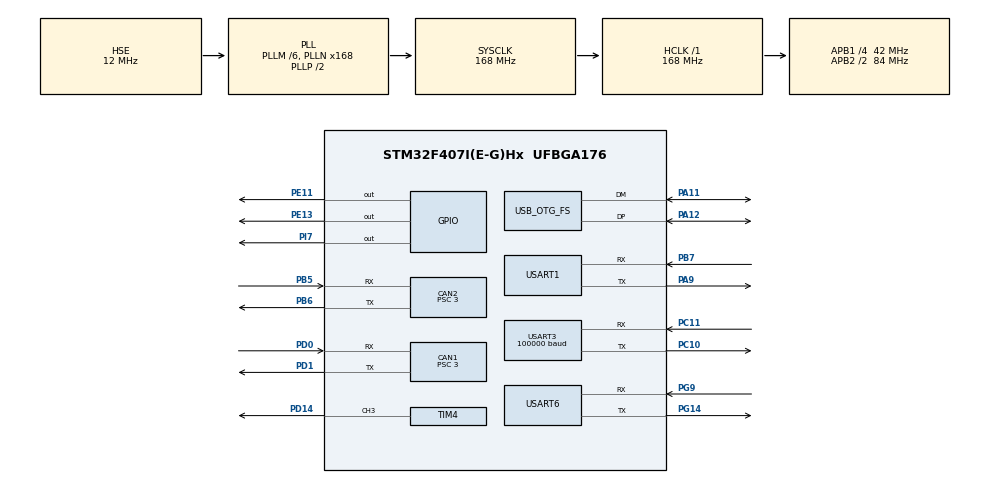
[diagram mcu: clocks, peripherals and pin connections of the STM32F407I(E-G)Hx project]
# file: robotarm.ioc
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CAN1.ABOM=ENABLE
CAN1.BS1=CAN_BS1_5TQ
CAN1.BS2=CAN_BS2_8TQ
CAN1.CalculateBaudRate=1000000
CAN1.CalculateTimeBit=1000
CAN1.CalculateTimeQuantum=71.42857142857143
CAN1.Prescaler=3
CAN2.ABOM=ENABLE
CAN2.BS1=CAN_BS1_5TQ
CAN2.BS2=CAN_BS2_8TQ
CAN2.CalculateBaudRate=1000000
CAN2.CalculateTimeBit=1000
CAN2.CalculateTimeQuantum=71.42857142857143
CAN2.Prescaler=3
Dma.Request0=USART1_RX
Dma.Request1=USART6_RX
Dma.Request2=USART3_RX
Dma.Request3=USART6_TX
Dma.Request4=USART1_TX
Dma.USART1_RX.0.Direction=DMA_PERIPH_TO_MEMORY
Dma.USART1_RX.0.FIFOMode=DMA_FIFOMODE_ENABLE
Dma.USART1_RX.0.FIFOThreshold=DMA_FIFO_THRESHOLD_FULL
Dma.USART1_RX.0.Instance=DMA2_Stream2
Dma.USART1_RX.0.MemBurst=DMA_MBURST_SINGLE
Dma.USART1_RX.0.MemDataAlignment=DMA_MDATAALIGN_BYTE
Dma.USART1_RX.0.MemInc=DMA_MINC_ENABLE
Dma.USART1_RX.0.Mode=DMA_NORMAL
Dma.USART1_RX.0.PeriphBurst=DMA_PBURST_SINGLE
Dma.USART1_RX.0.PeriphDataAlignment=DMA_PDATAALIGN_BYTE
Dma.USART1_RX.0.PeriphInc=DMA_PINC_DISABLE
Dma.USART1_RX.0.Priority=DMA_PRIORITY_MEDIUM
Dma.USART1_TX.4.Direction=DMA_MEMORY_TO_PERIPH
Dma.USART1_TX.4.FIFOMode=DMA_FIFOMODE_ENABLE
Dma.USART1_TX.4.FIFOThreshold=DMA_FIFO_THRESHOLD_FULL
Dma.USART1_TX.4.Instance=DMA2_Stream7
Dma.USART1_TX.4.MemBurst=DMA_MBURST_SINGLE
Dma.USART1_TX.4.MemDataAlignment=DMA_MDATAALIGN_BYTE
Dma.USART1_TX.4.MemInc=DMA_MINC_ENABLE
Dma.USART1_TX.4.Mode=DMA_NORMAL
Dma.USART1_TX.4.PeriphBurst=DMA_PBURST_SINGLE
Dma.USART1_TX.4.PeriphDataAlignment=DMA_PDATAALIGN_BYTE
Dma.USART1_TX.4.PeriphInc=DMA_PINC_DISABLE
Dma.USART1_TX.4.Priority=DMA_PRIORITY_MEDIUM
Dma.USART3_RX.2.Direction=DMA_PERIPH_TO_MEMORY
Dma.USART3_RX.2.FIFOMode=DMA_FIFOMODE_ENABLE
Dma.USART3_RX.2.FIFOThreshold=DMA_FIFO_THRESHOLD_FULL
Dma.USART3_RX.2.Instance=DMA1_Stream1
Dma.USART3_RX.2.MemBurst=DMA_MBURST_SINGLE
Dma.USART3_RX.2.MemDataAlignment=DMA_MDATAALIGN_BYTE
Dma.USART3_RX.2.MemInc=DMA_MINC_ENABLE
Dma.USART3_RX.2.Mode=DMA_NORMAL
Dma.USART3_RX.2.PeriphBurst=DMA_PBURST_SINGLE
Dma.USART3_RX.2.PeriphDataAlignment=DMA_PDATAALIGN_BYTE
Dma.USART3_RX.2.PeriphInc=DMA_PINC_DISABLE
Dma.USART3_RX.2.Priority=DMA_PRIORITY_MEDIUM
Dma.USART6_RX.1.Direction=DMA_PERIPH_TO_MEMORY
Dma.USART6_RX.1.FIFOMode=DMA_FIFOMODE_ENABLE
Dma.USART6_RX.1.FIFOThreshold=DMA_FIFO_THRESHOLD_FULL
Dma.USART6_RX.1.Instance=DMA2_Stream1
Dma.USART6_RX.1.MemBurst=DMA_MBURST_SINGLE
Dma.USART6_RX.1.MemDataAlignment=DMA_MDATAALIGN_BYTE
Dma.USART6_RX.1.MemInc=DMA_MINC_ENABLE
Dma.USART6_RX.1.Mode=DMA_NORMAL
Dma.USART6_RX.1.PeriphBurst=DMA_PBURST_SINGLE
Dma.USART6_RX.1.PeriphDataAlignment=DMA_PDATAALIGN_BYTE
Dma.USART6_RX.1.PeriphInc=DMA_PINC_DISABLE
Dma.USART6_RX.1.Priority=DMA_PRIORITY_MEDIUM
Dma.USART6_TX.3.Direction=DMA_MEMORY_TO_PERIPH
Dma.USART6_TX.3.FIFOMode=DMA_FIFOMODE_ENABLE
Dma.USART6_TX.3.FIFOThreshold=DMA_FIFO_THRESHOLD_FULL
Dma.USART6_TX.3.Instance=DMA2_Stream6
Dma.USART6_TX.3.MemBurst=DMA_MBURST_SINGLE
Dma.USART6_TX.3.MemDataAlignment=DMA_MDATAALIGN_BYTE
Dma.USART6_TX.3.MemInc=DMA_MINC_ENABLE
Dma.USART6_TX.3.Mode=DMA_NORMAL
Dma.USART6_TX.3.PeriphBurst=DMA_PBURST_SINGLE
Dma.USART6_TX.3.PeriphDataAlignment=DMA_PDATAALIGN_BYTE
Dma.USART6_TX.3.PeriphInc=DMA_PINC_DISABLE
Dma.USART6_TX.3.Priority=DMA_PRIORITY_MEDIUM
FREERTOS.CountingSemaphores01=Communication_Sem,10,Dynamic,NULL
FREERTOS.INCLUDE_uxTaskGetStackHighWaterMark=1
FREERTOS.Mutexes01=can1TransMutex,Dynamic,NULL
FREERTOS.Tasks01=defaultTask,0,128,StartDefaultTask,As weak,NULL,Dynamic,NULL,NULL
FREERTOS.configENABLE_FPU=1
FREERTOS.configMAX_PRIORITIES=15
FREERTOS.configMAX_TASK_NAME_LEN=25
FREERTOS.configTOTAL_HEAP_SIZE=0x6300
FREERTOS.configUSE_COUNTING_SEMAPHORES=1
Mcu.Family=STM32F4
Mcu.Name=STM32F407I(E-G)Hx
Mcu.Package=UFBGA176
NVIC.CAN1_RX0_IRQn=true\:5\:0\:false\:false\:true\:true\:true\:true\:true
NVIC.CAN1_RX1_IRQn=true\:5\:0\:false\:false\:true\:true\:true\:true\:true
NVIC.CAN2_RX0_IRQn=true\:5\:0\:false\:false\:true\:true\:true\:true\:true
NVIC.CAN2_RX1_IRQn=true\:5\:0\:false\:false\:true\:true\:true\:true\:true
NVIC.DMA1_Stream1_IRQn=true\:5\:0\:false\:false\:true\:true\:false\:true\:true
NVIC.DMA2_Stream1_IRQn=true\:5\:0\:false\:false\:true\:true\:false\:true\:true
NVIC.DMA2_Stream2_IRQn=true\:5\:0\:false\:false\:true\:true\:false\:true\:true
NVIC.DMA2_Stream6_IRQn=true\:5\:0\:false\:false\:true\:true\:false\:true\:true
NVIC.DMA2_Stream7_IRQn=true\:5\:0\:false\:false\:true\:true\:false\:true\:true
NVIC.OTG_FS_IRQn=true\:5\:0\:false\:false\:true\:true\:false\:true\:true
NVIC.PriorityGroup=NVIC_PRIORITYGROUP_4
NVIC.TIM3_IRQn=true\:5\:0\:false\:false\:true\:true\:true\:true\:true
NVIC.TIM5_IRQn=true\:15\:0\:false\:false\:true\:false\:false\:true\:true
NVIC.TimeBase=TIM5_IRQn
NVIC.TimeBaseIP=TIM5
NVIC.USART1_IRQn=true\:5\:0\:false\:false\:true\:true\:true\:true\:true
NVIC.USART3_IRQn=true\:5\:0\:true\:false\:true\:true\:true\:true\:true
NVIC.USART6_IRQn=true\:5\:0\:false\:false\:true\:true\:true\:true\:true
PA11.Mode=Device_Only
PA11.Signal=USB_OTG_FS_DM
PA12.Mode=Device_Only
PA12.Signal=USB_OTG_FS_DP
PA13.Mode=Serial_Wire
PA13.Signal=SYS_JTMS-SWDIO
PA14.Mode=Serial_Wire
PA14.Signal=SYS_JTCK-SWCLK
PA9.Mode=Asynchronous
PA9.Signal=USART1_TX
PB5.Mode=CAN_Activate
PB5.Signal=CAN2_RX
PB6.Mode=CAN_Activate
PB6.Signal=CAN2_TX
PB7.Mode=Asynchronous
PB7.Signal=USART1_RX
PC10.Mode=Asynchronous
PC10.Signal=USART3_TX
PC11.Mode=Asynchronous
PC11.Signal=USART3_RX
PD0.Mode=CAN_Activate
PD0.Signal=CAN1_RX
PD1.Mode=CAN_Activate
PD1.Signal=CAN1_TX
PD14.Signal=S_TIM4_CH3
PE11.GPIO_PuPd=GPIO_PULLUP
PE11.Signal=GPIO_Output
PE13.GPIO_PuPd=GPIO_PULLUP
PE13.Signal=GPIO_Output
PG14.Mode=Asynchronous
PG14.Signal=USART6_TX
PG9.Mode=Asynchronous
PG9.Signal=USART6_RX
PH0-OSC_IN.Mode=HSE-External-Oscillator
PH0-OSC_IN.Signal=RCC_OSC_IN
PH1-OSC_OUT.Mode=HSE-External-Oscillator
PH1-OSC_OUT.Signal=RCC_OSC_OUT
PI7.Signal=GPIO_Output
ProjectManager.HeapSize=0x5000
ProjectManager.StackSize=0x4000
ProjectManager.TargetToolchain=MDK-ARM V5.32
RCC.48MHZClocksFreq_Value=48000000
RCC.AHBFreq_Value=168000000
RCC.APB1CLKDivider=RCC_HCLK_DIV4
RCC.APB1Freq_Value=42000000
RCC.APB1TimFreq_Value=84000000
RCC.APB2CLKDivider=RCC_HCLK_DIV2
RCC.APB2Freq_Value=84000000
RCC.APB2TimFreq_Value=168000000
RCC.CortexFreq_Value=168000000
RCC.HCLKFreq_Value=168000000
RCC.HSE_VALUE=12000000
RCC.HSI_VALUE=16000000
RCC.LSE_VALUE=32768
RCC.PLLM=6
RCC.PLLN=168
RCC.PLLQ=7
RCC.SYSCLKFreq_VALUE=168000000
RCC.SYSCLKSource=RCC_SYSCLKSOURCE_PLLCLK
RCC.VCOOutputFreq_Value=336000000
SH.S_TIM4_CH3.0=TIM4_CH3,PWM Generation3 CH3
STMicroelectronics.X-CUBE-ALGOBUILD.1.3.0.LibraryCcDSPOoLibraryJjDSPOoLibrary=true
TIM3.AutoReloadPreload=TIM_AUTORELOAD_PRELOAD_ENABLE
TIM3.Period=1000-1
TIM3.Prescaler=84-1
TIM4.Channel-PWM\ Generation3\ CH3=TIM_CHANNEL_3
USART1.VirtualMode=VM_ASYNC
USART3.BaudRate=100000
USART3.Mode=MODE_RX
USART3.Parity=PARITY_EVEN
USART3.VirtualMode=VM_ASYNC
USART3.WordLength=WORDLENGTH_9B
USART6.VirtualMode=VM_ASYNC
USB_DEVICE.CLASS_NAME_FS=CDC
USB_DEVICE.VirtualMode-CDC_FS=Cdc
USB_DEVICE.VirtualModeFS=Cdc_FS
USB_OTG_FS.VirtualMode=Device_Only
VP_FREERTOS_VS_CMSIS_V1.Mode=CMSIS_V1
VP_STMicroelectronics.X-CUBE-ALGOBUILD_VS_DSPOoLibraryJjLibrary_1.3.0_1.3.0.Mode=DSPOoLibraryJjLibrary
VP_SYS_VS_tim5.Mode=TIM5
VP_TIM3_VS_ClockSourceINT.Mode=Internal
VP_USB_DEVICE_VS_USB_DEVICE_CDC_FS.Mode=CDC_FS
board=custom

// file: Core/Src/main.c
/* USER CODE BEGIN Header */
/**
  ******************************************************************************
  * @file           : main.c
  * @brief          : Main program body
  ******************************************************************************
  * @attention
  *
  * Copyright (c) 2023 STMicroelectronics.
  * All rights reserved.
  *
  * This software is licensed under terms that can be found in the LICENSE file
  * in the root directory of this software component.
  * If no LICENSE file comes with this software, it is provided AS-IS.
  *
  ******************************************************************************
  */
/* USER CODE END Header */
#include "main.h"
#include "cmsis_os.h"
#include "can.h"
#include "dma.h"
#include "tim.h"
#include "usart.h"
#include "usb_device.h"
#include "gpio.h"

/* USER CODE BEGIN Includes */
#include "tsk_config_and_callback.h"
#include "drv_can.h"
/* USER CODE END Includes */

void SystemClock_Config(void);
void MX_FREERTOS_Init(void);

/* USER CODE BEGIN 0 */
uint8_t data_[8]={0,0,0,50,0,0,0,0};
/* USER CODE END 0 */

int main(void)
{

  /* MCU Configuration--------------------------------------------------------*/

  /* Reset of all peripherals, Initializes the Flash interface and the Systick. */
  HAL_Init();

  /* Configure the system clock */
  SystemClock_Config();

  /* Initialize all configured peripherals */
  MX_GPIO_Init();
  MX_DMA_Init();
  MX_CAN1_Init();
  MX_CAN2_Init();
  MX_TIM3_Init();
  MX_USART1_UART_Init();
  MX_USART6_UART_Init();
  MX_USART3_UART_Init();
  MX_TIM4_Init();
  /* USER CODE BEGIN 2 */
	init();
  /* USER CODE END 2 */

  /* Call init function for freertos objects (in freertos.c) */
  MX_FREERTOS_Init();

  /* Start scheduler */
  osKernelStart();

  /* We should never get here as control is now taken by the scheduler */
  /* Infinite loop */
  /* USER CODE BEGIN WHILE */
  while (1)
  {

//	CAN_Send_Data(&hcan2, (uint32_t)(3<<8|1), data_, 8, CAN_ID_EXT);
//	HAL_Delay(10);
    /* USER CODE END WHILE */

  }
}

void SystemClock_Config(void)
{
  RCC_OscInitTypeDef RCC_OscInitStruct = {0};
  RCC_ClkInitTypeDef RCC_ClkInitStruct = {0};

  /** Configure the main internal regulator output voltage
  */
  __HAL_RCC_PWR_CLK_ENABLE();
  __HAL_PWR_VOLTAGESCALING_CONFIG(PWR_REGULATOR_VOLTAGE_SCALE1);

  /** Initializes the RCC Oscillators according to the specified parameters
  * in the RCC_OscInitTypeDef structure.
  */
  RCC_OscInitStruct.OscillatorType = RCC_OSCILLATORTYPE_HSE;
  RCC_OscInitStruct.HSEState = RCC_HSE_ON;
  RCC_OscInitStruct.PLL.PLLState = RCC_PLL_ON;
  RCC_OscInitStruct.PLL.PLLSource = RCC_PLLSOURCE_HSE;
  RCC_OscInitStruct.PLL.PLLM = 6;
  RCC_OscInitStruct.PLL.PLLN = 168;
  RCC_OscInitStruct.PLL.PLLP = RCC_PLLP_DIV2;
  RCC_OscInitStruct.PLL.PLLQ = 7;
  if (HAL_RCC_OscConfig(&RCC_OscInitStruct) != HAL_OK)
  {
    Error_Handler();
  }

  /** Initializes the CPU, AHB and APB buses clocks
  */
  RCC_ClkInitStruct.ClockType = RCC_CLOCKTYPE_HCLK|RCC_CLOCKTYPE_SYSCLK
                              |RCC_CLOCKTYPE_PCLK1|RCC_CLOCKTYPE_PCLK2;
  RCC_ClkInitStruct.SYSCLKSource = RCC_SYSCLKSOURCE_PLLCLK;
  RCC_ClkInitStruct.AHBCLKDivider = RCC_SYSCLK_DIV1;
  RCC_ClkInitStruct.APB1CLKDivider = RCC_HCLK_DIV4;
  RCC_ClkInitStruct.APB2CLKDivider = RCC_HCLK_DIV2;

  if (HAL_RCC_ClockConfig(&RCC_ClkInitStruct, FLASH_LATENCY_5) != HAL_OK)
  {
    Error_Handler();
  }
}

void HAL_TIM_PeriodElapsedCallback(TIM_HandleTypeDef *htim)
{
  if (htim->Instance == TIM5) {
    HAL_IncTick();
  }
}

void Error_Handler(void)
{
  __disable_irq();
  while (1)
  {
  }
}

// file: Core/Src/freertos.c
/* USER CODE BEGIN Header */
/**
  ******************************************************************************
  * File Name          : freertos.c
  * Description        : Code for freertos applications
  ******************************************************************************
  * @attention
  *
  * Copyright (c) 2023 STMicroelectronics.
  * All rights reserved.
  *
  * This software is licensed under terms that can be found in the LICENSE file
  * in the root directory of this software component.
  * If no LICENSE file comes with this software, it is provided AS-IS.
  *
  ******************************************************************************
  */
/* USER CODE END Header */

#include "FreeRTOS.h"
#include "task.h"
#include "main.h"
#include "cmsis_os.h"

/* USER CODE BEGIN Variables */
osThreadId RobotarmTaskHandle;
osThreadId MotorTaskHandle;
osThreadId CammandTaskHandle;
osThreadId CommunicationTaskHandle;
/* USER CODE END Variables */
osThreadId defaultTaskHandle;
osMutexId can1TransMutexHandle;
osSemaphoreId Communication_SemHandle;

/* USER CODE BEGIN FunctionPrototypes */
extern void RobotarmResolution_Task(void const * argument);
extern void Motor_Task(void const * argument);
extern void Cammand_Task(void const * argument);
extern void Communication_Task(void const * argument);
/* USER CODE END FunctionPrototypes */

void StartDefaultTask(void const * argument);

extern void MX_USB_DEVICE_Init(void);
void MX_FREERTOS_Init(void); /* (MISRA C 2004 rule 8.1) */

/* GetIdleTaskMemory prototype (linked to static allocation support) */
void vApplicationGetIdleTaskMemory( StaticTask_t **ppxIdleTaskTCBBuffer, StackType_t **ppxIdleTaskStackBuffer, uint32_t *pulIdleTaskStackSize );

/* USER CODE BEGIN GET_IDLE_TASK_MEMORY */
static StaticTask_t xIdleTaskTCBBuffer;
static StackType_t xIdleStack[configMINIMAL_STACK_SIZE];

void vApplicationGetIdleTaskMemory( StaticTask_t **ppxIdleTaskTCBBuffer, StackType_t **ppxIdleTaskStackBuffer, uint32_t *pulIdleTaskStackSize )
{
  *ppxIdleTaskTCBBuffer = &xIdleTaskTCBBuffer;
  *ppxIdleTaskStackBuffer = &xIdleStack[0];
  *pulIdleTaskStackSize = configMINIMAL_STACK_SIZE;
  /* place for user code */
}
/* USER CODE END GET_IDLE_TASK_MEMORY */

void MX_FREERTOS_Init(void) {
  /* Create the mutex(es) */
  /* definition and creation of can1TransMutex */
  osMutexDef(can1TransMutex);
  can1TransMutexHandle = osMutexCreate(osMutex(can1TransMutex));

  /* Create the semaphores(s) */
  /* definition and creation of Communication_Sem */
  osSemaphoreDef(Communication_Sem);
  Communication_SemHandle = osSemaphoreCreate(osSemaphore(Communication_Sem), 10);

  /* Create the thread(s) */
  /* definition and creation of defaultTask */
  osThreadDef(defaultTask, StartDefaultTask, osPriorityNormal, 0, 128);
  defaultTaskHandle = osThreadCreate(osThread(defaultTask), NULL);

  /* USER CODE BEGIN RTOS_THREADS */

  osThreadDef(MotorTask, Motor_Task, osPriorityNormal, 0, 512);
  MotorTaskHandle = osThreadCreate(osThread(MotorTask), NULL);

  osThreadDef(RobotarmTask, RobotarmResolution_Task, osPriorityAboveNormal, 0, 2*1024);
  RobotarmTaskHandle = osThreadCreate(osThread(RobotarmTask), NULL);

  osThreadDef(CammandTask, Cammand_Task, osPriorityNormal, 0, 128);
  CammandTaskHandle = osThreadCreate(osThread(CammandTask), NULL);

  osThreadDef(CommunicationTask, Communication_Task, osPriorityHigh, 0, 128);
  CommunicationTaskHandle = osThreadCreate(osThread(CommunicationTask), NULL);

  /* USER CODE END RTOS_THREADS */

}

__weak void StartDefaultTask(void const * argument)
{
  /* init code for USB_DEVICE */
  MX_USB_DEVICE_Init();
  for(;;)
  {
    osDelay(1);
  }
}
